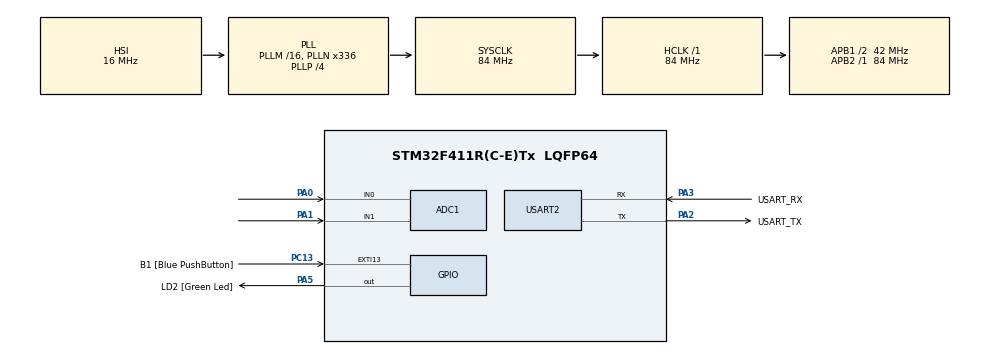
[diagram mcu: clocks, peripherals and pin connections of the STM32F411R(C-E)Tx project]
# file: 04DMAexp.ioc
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ADC1.Channel-0\#ChannelRegularConversion=ADC_CHANNEL_0
ADC1.Channel-1\#ChannelRegularConversion=ADC_CHANNEL_1
ADC1.ContinuousConvMode=ENABLE
ADC1.DMAContinuousRequests=ENABLE
ADC1.NbrOfConversion=2
ADC1.NbrOfConversionFlag=1
ADC1.Rank-0\#ChannelRegularConversion=1
ADC1.Rank-1\#ChannelRegularConversion=2
ADC1.SamplingTime-0\#ChannelRegularConversion=ADC_SAMPLETIME_28CYCLES
ADC1.SamplingTime-1\#ChannelRegularConversion=ADC_SAMPLETIME_28CYCLES
ADC1.master=1
Dma.ADC1.0.Direction=DMA_PERIPH_TO_MEMORY
Dma.ADC1.0.FIFOMode=DMA_FIFOMODE_DISABLE
Dma.ADC1.0.Instance=DMA2_Stream0
Dma.ADC1.0.MemDataAlignment=DMA_MDATAALIGN_WORD
Dma.ADC1.0.MemInc=DMA_MINC_ENABLE
Dma.ADC1.0.Mode=DMA_CIRCULAR
Dma.ADC1.0.PeriphDataAlignment=DMA_PDATAALIGN_WORD
Dma.ADC1.0.PeriphInc=DMA_PINC_DISABLE
Dma.ADC1.0.Priority=DMA_PRIORITY_LOW
Dma.Request0=ADC1
Mcu.Family=STM32F4
Mcu.Name=STM32F411R(C-E)Tx
Mcu.Package=LQFP64
NVIC.DMA2_Stream0_IRQn=true\:0\:0\:false\:false\:true\:false\:true\:true
NVIC.EXTI15_10_IRQn=true\:0\:0\:false\:false\:true\:true\:true\:true
NVIC.PriorityGroup=NVIC_PRIORITYGROUP_0
NVIC.TIM2_IRQn=true\:0\:0\:false\:false\:true\:true\:true\:true
PA0-WKUP.Signal=ADCx_IN0
PA1.Signal=ADCx_IN1
PA13.GPIO_Label=TMS
PA13.Mode=Serial_Wire
PA13.Signal=SYS_JTMS-SWDIO
PA14.GPIO_Label=TCK
PA14.Mode=Serial_Wire
PA14.Signal=SYS_JTCK-SWCLK
PA2.GPIO_Label=USART_TX
PA2.Mode=Asynchronous
PA2.Signal=USART2_TX
PA3.GPIO_Label=USART_RX
PA3.Mode=Asynchronous
PA3.Signal=USART2_RX
PA5.GPIO_Label=LD2 [Green Led]
PA5.Signal=GPIO_Output
PB3.GPIO_Label=SWO
PB3.Signal=SYS_JTDO-SWO
PC13-ANTI_TAMP.GPIO_Label=B1 [Blue PushButton]
PC13-ANTI_TAMP.GPIO_ModeDefaultEXTI=GPIO_MODE_IT_RISING_FALLING
PC13-ANTI_TAMP.Signal=GPXTI13
PC14-OSC32_IN.Mode=LSE-External-Oscillator
PC14-OSC32_IN.Signal=RCC_OSC32_IN
PC15-OSC32_OUT.Mode=LSE-External-Oscillator
PC15-OSC32_OUT.Signal=RCC_OSC32_OUT
PH0\ -\ OSC_IN.Mode=HSE-External-Clock-Source
PH0\ -\ OSC_IN.Signal=RCC_OSC_IN
PH1\ -\ OSC_OUT.Mode=HSE-External-Clock-Source
PH1\ -\ OSC_OUT.Signal=RCC_OSC_OUT
ProjectManager.HeapSize=0x200
ProjectManager.StackSize=0x400
ProjectManager.TargetToolchain=STM32CubeIDE
RCC.48MHZClocksFreq_Value=84000000
RCC.AHBFreq_Value=84000000
RCC.APB1CLKDivider=RCC_HCLK_DIV2
RCC.APB1Freq_Value=42000000
RCC.APB1TimFreq_Value=84000000
RCC.APB2Freq_Value=84000000
RCC.APB2TimFreq_Value=84000000
RCC.CortexFreq_Value=84000000
RCC.FLatency-AdvancedSettings=FLASH_LATENCY_2
RCC.HCLKFreq_Value=84000000
RCC.HSE_VALUE=8000000
RCC.HSI_VALUE=16000000
RCC.PLLN=336
RCC.PLLP=RCC_PLLP_DIV4
RCC.SYSCLKFreq_VALUE=84000000
RCC.SYSCLKSource=RCC_SYSCLKSOURCE_PLLCLK
RCC.VCOOutputFreq_Value=336000000
SH.ADCx_IN0.0=ADC1_IN0,IN0
SH.ADCx_IN1.0=ADC1_IN1,IN1
TIM2.Prescaler=100
USART2.VirtualMode=VM_ASYNC
VP_TIM2_VS_ClockSourceINT.Mode=Internal
board=NUCLEO-F411RE

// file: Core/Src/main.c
/* USER CODE BEGIN Header */
/**
 ******************************************************************************
 * @file           : main.c
 * @brief          : Main program body
 ******************************************************************************
 * @attention
 *
 * Copyright (c) 2022 STMicroelectronics.
 * All rights reserved.
 *
 * This software is licensed under terms that can be found in the LICENSE file
 * in the root directory of this software component.
 * If no LICENSE file comes with this software, it is provided AS-IS.
 *
 ******************************************************************************
 */
/* USER CODE END Header */
#include "main.h"

ADC_HandleTypeDef hadc1;
DMA_HandleTypeDef hdma_adc1;

TIM_HandleTypeDef htim2;

UART_HandleTypeDef huart2;

/* USER CODE BEGIN PV */
int32_t press = 0;
float time[2];
float randomtime = 0;
float delay = 0;
/* USER CODE END PV */

void SystemClock_Config(void);
static void MX_GPIO_Init(void);
static void MX_USART2_UART_Init(void);
static void MX_DMA_Init(void);
static void MX_ADC1_Init(void);
static void MX_TIM2_Init(void);

/* USER CODE BEGIN 0 */
uint32_t ADCData[2] = { 0 };

/* USER CODE END 0 */

int main(void) {

	/* MCU Configuration--------------------------------------------------------*/

	/* Reset of all peripherals, Initializes the Flash interface and the Systick. */
	HAL_Init();

	/* Configure the system clock */
	SystemClock_Config();

	/* Initialize all configured peripherals */
	MX_GPIO_Init();
	MX_USART2_UART_Init();
	MX_DMA_Init();
	MX_ADC1_Init();
	MX_TIM2_Init();

	/* Infinite loop */
	/* USER CODE BEGIN WHILE */
	HAL_ADC_Start_DMA(&hadc1, ADCData, 2);
	HAL_GPIO_WritePin(LD2_GPIO_Port, LD2_Pin, 0);
	while (1) {
		/* USER CODE END WHILE */
		HAL_Delay(1000000);
	}
}

void SystemClock_Config(void) {
	RCC_OscInitTypeDef RCC_OscInitStruct = { 0 };
	RCC_ClkInitTypeDef RCC_ClkInitStruct = { 0 };

	/** Configure the main internal regulator output voltage
	 */
	__HAL_RCC_PWR_CLK_ENABLE();
	__HAL_PWR_VOLTAGESCALING_CONFIG(PWR_REGULATOR_VOLTAGE_SCALE1);
	/** Initializes the RCC Oscillators according to the specified parameters
	 * in the RCC_OscInitTypeDef structure.
	 */
	RCC_OscInitStruct.OscillatorType = RCC_OSCILLATORTYPE_HSI;
	RCC_OscInitStruct.HSIState = RCC_HSI_ON;
	RCC_OscInitStruct.HSICalibrationValue = RCC_HSICALIBRATION_DEFAULT;
	RCC_OscInitStruct.PLL.PLLState = RCC_PLL_ON;
	RCC_OscInitStruct.PLL.PLLSource = RCC_PLLSOURCE_HSI;
	RCC_OscInitStruct.PLL.PLLM = 16;
	RCC_OscInitStruct.PLL.PLLN = 336;
	RCC_OscInitStruct.PLL.PLLP = RCC_PLLP_DIV4;
	RCC_OscInitStruct.PLL.PLLQ = 4;
	if (HAL_RCC_OscConfig(&RCC_OscInitStruct) != HAL_OK) {
		Error_Handler();
	}
	/** Initializes the CPU, AHB and APB buses clocks
	 */
	RCC_ClkInitStruct.ClockType = RCC_CLOCKTYPE_HCLK | RCC_CLOCKTYPE_SYSCLK
			| RCC_CLOCKTYPE_PCLK1 | RCC_CLOCKTYPE_PCLK2;
	RCC_ClkInitStruct.SYSCLKSource = RCC_SYSCLKSOURCE_PLLCLK;
	RCC_ClkInitStruct.AHBCLKDivider = RCC_SYSCLK_DIV1;
	RCC_ClkInitStruct.APB1CLKDivider = RCC_HCLK_DIV2;
	RCC_ClkInitStruct.APB2CLKDivider = RCC_HCLK_DIV1;

	if (HAL_RCC_ClockConfig(&RCC_ClkInitStruct, FLASH_LATENCY_2) != HAL_OK) {
		Error_Handler();
	}
}

static void MX_ADC1_Init(void) {

	ADC_ChannelConfTypeDef sConfig = { 0 };

	/** Configure the global features of the ADC (Clock, Resolution, Data Alignment and number of conversion)
	 */
	hadc1.Instance = ADC1;
	hadc1.Init.ClockPrescaler = ADC_CLOCK_SYNC_PCLK_DIV4;
	hadc1.Init.Resolution = ADC_RESOLUTION_12B;
	hadc1.Init.ScanConvMode = ENABLE;
	hadc1.Init.ContinuousConvMode = ENABLE;
	hadc1.Init.DiscontinuousConvMode = DISABLE;
	hadc1.Init.ExternalTrigConvEdge = ADC_EXTERNALTRIGCONVEDGE_NONE;
	hadc1.Init.ExternalTrigConv = ADC_SOFTWARE_START;
	hadc1.Init.DataAlign = ADC_DATAALIGN_RIGHT;
	hadc1.Init.NbrOfConversion = 2;
	hadc1.Init.DMAContinuousRequests = ENABLE;
	hadc1.Init.EOCSelection = ADC_EOC_SINGLE_CONV;
	if (HAL_ADC_Init(&hadc1) != HAL_OK) {
		Error_Handler();
	}
	/** Configure for the selected ADC regular channel its corresponding rank in the sequencer and its sample time.
	 */
	sConfig.Channel = ADC_CHANNEL_0;
	sConfig.Rank = 1;
	sConfig.SamplingTime = ADC_SAMPLETIME_28CYCLES;
	if (HAL_ADC_ConfigChannel(&hadc1, &sConfig) != HAL_OK) {
		Error_Handler();
	}
	/** Configure for the selected ADC regular channel its corresponding rank in the sequencer and its sample time.
	 */
	sConfig.Channel = ADC_CHANNEL_1;
	sConfig.Rank = 2;
	if (HAL_ADC_ConfigChannel(&hadc1, &sConfig) != HAL_OK) {
		Error_Handler();
	}

}

static void MX_TIM2_Init(void) {

	TIM_ClockConfigTypeDef sClockSourceConfig = { 0 };
	TIM_MasterConfigTypeDef sMasterConfig = { 0 };

	htim2.Instance = TIM2;
	htim2.Init.Prescaler = 100;
	htim2.Init.CounterMode = TIM_COUNTERMODE_UP;
	htim2.Init.Period = 4294967295;
	htim2.Init.ClockDivision = TIM_CLOCKDIVISION_DIV1;
	htim2.Init.AutoReloadPreload = TIM_AUTORELOAD_PRELOAD_DISABLE;
	if (HAL_TIM_Base_Init(&htim2) != HAL_OK) {
		Error_Handler();
	}
	sClockSourceConfig.ClockSource = TIM_CLOCKSOURCE_INTERNAL;
	if (HAL_TIM_ConfigClockSource(&htim2, &sClockSourceConfig) != HAL_OK) {
		Error_Handler();
	}
	sMasterConfig.MasterOutputTrigger = TIM_TRGO_RESET;
	sMasterConfig.MasterSlaveMode = TIM_MASTERSLAVEMODE_DISABLE;
	if (HAL_TIMEx_MasterConfigSynchronization(&htim2, &sMasterConfig)
			!= HAL_OK) {
		Error_Handler();
	}

}

static void MX_USART2_UART_Init(void) {

	huart2.Instance = USART2;
	huart2.Init.BaudRate = 115200;
	huart2.Init.WordLength = UART_WORDLENGTH_8B;
	huart2.Init.StopBits = UART_STOPBITS_1;
	huart2.Init.Parity = UART_PARITY_NONE;
	huart2.Init.Mode = UART_MODE_TX_RX;
	huart2.Init.HwFlowCtl = UART_HWCONTROL_NONE;
	huart2.Init.OverSampling = UART_OVERSAMPLING_16;
	if (HAL_UART_Init(&huart2) != HAL_OK) {
		Error_Handler();
	}

}

static void MX_DMA_Init(void) {

	/* DMA controller clock enable */
	__HAL_RCC_DMA2_CLK_ENABLE();

	/* DMA interrupt init */
	/* DMA2_Stream0_IRQn interrupt configuration */
	HAL_NVIC_SetPriority(DMA2_Stream0_IRQn, 0, 0);
	HAL_NVIC_EnableIRQ(DMA2_Stream0_IRQn);

}

static void MX_GPIO_Init(void) {
	GPIO_InitTypeDef GPIO_InitStruct = { 0 };

	/* GPIO Ports Clock Enable */
	__HAL_RCC_GPIOC_CLK_ENABLE();
	__HAL_RCC_GPIOH_CLK_ENABLE();
	__HAL_RCC_GPIOA_CLK_ENABLE();
	__HAL_RCC_GPIOB_CLK_ENABLE();

	/*Configure GPIO pin Output Level */
	HAL_GPIO_WritePin(LD2_GPIO_Port, LD2_Pin, GPIO_PIN_RESET);

	/*Configure GPIO pin : B1_Pin */
	GPIO_InitStruct.Pin = B1_Pin;
	GPIO_InitStruct.Mode = GPIO_MODE_IT_RISING_FALLING;
	GPIO_InitStruct.Pull = GPIO_NOPULL;
	HAL_GPIO_Init(B1_GPIO_Port, &GPIO_InitStruct);

	/*Configure GPIO pin : LD2_Pin */
	GPIO_InitStruct.Pin = LD2_Pin;
	GPIO_InitStruct.Mode = GPIO_MODE_OUTPUT_PP;
	GPIO_InitStruct.Pull = GPIO_NOPULL;
	GPIO_InitStruct.Speed = GPIO_SPEED_FREQ_LOW;
	HAL_GPIO_Init(LD2_GPIO_Port, &GPIO_InitStruct);

	/* EXTI interrupt init*/
	HAL_NVIC_SetPriority(EXTI15_10_IRQn, 0, 0);
	HAL_NVIC_EnableIRQ(EXTI15_10_IRQn);

}

/* USER CODE BEGIN 4 */
void HAL_GPIO_EXTI_Callback(uint16_t GPIO_Pin) {
	if (GPIO_Pin == GPIO_PIN_13) {
		if (press % 2 == 0) {
			HAL_GPIO_WritePin(LD2_GPIO_Port, LD2_Pin, 1);
			randomtime = 1000 + ((22695477 * ADCData[0]) + ADCData[1]) % 1000;
			htim2.Instance->ARR = randomtime * 1000 - 1;
			htim2.Instance->CNT = 0;
			HAL_TIM_Base_Start_IT(&htim2);

		}
		time[press % 2] = HAL_GetTick();
		if (press % 2 == 1) {
			delay = time[1] - time[0] - randomtime;
		}
		press += 1;
	}
}

void HAL_TIM_PeriodElapsedCallback(TIM_HandleTypeDef *htim) {
	if (htim == &htim2) {
		HAL_GPIO_WritePin(LD2_GPIO_Port, LD2_Pin, 0);
		HAL_TIM_Base_Stop_IT(&htim2);
	}
}

/* USER CODE END 4 */

void Error_Handler(void) {
	__disable_irq();
	while (1) {
	}
}
